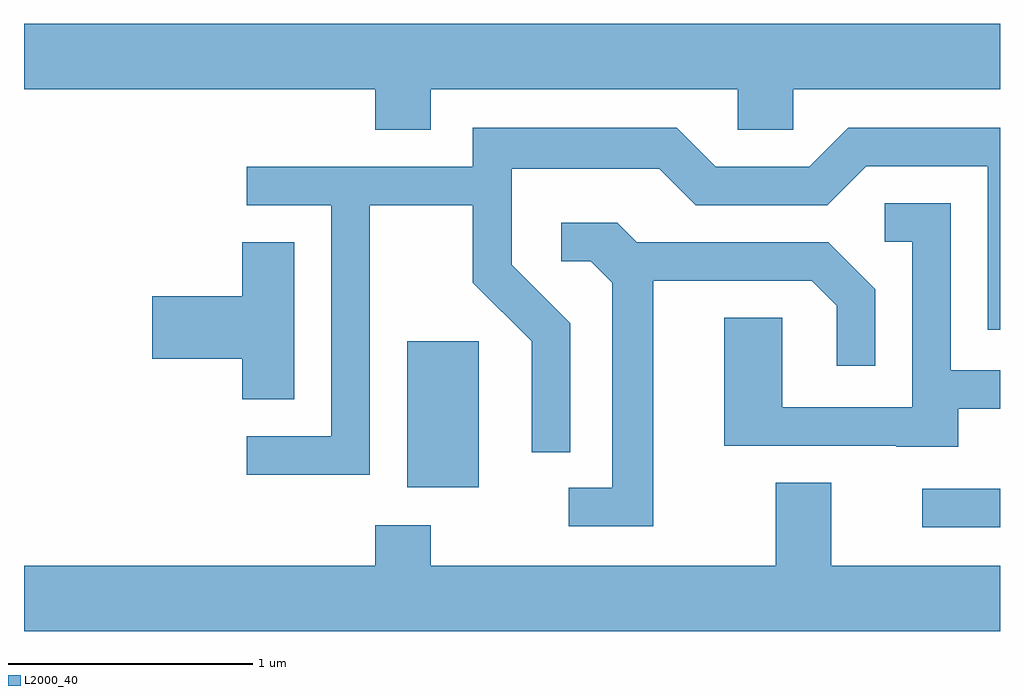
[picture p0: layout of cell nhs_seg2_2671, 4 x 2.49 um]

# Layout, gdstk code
import gdstk
lib = gdstk.Library(unit=1e-6, precision=1e-09)
def R(c, l, rs):  # rectangles x0, y0, x1, y1
    for r in rs: c.add(gdstk.rectangle(r[:2], r[2:], *l))
def P(c, l, *ps):  # polygons
    for p in ps: c.add(gdstk.Polygon(p, *l))
L2000_40 = (2000, 40)

nhs_seg2_2671 = lib.new_cell('nhs_seg2_2671')
R(nhs_seg2_2671, L2000_40, [(267.293,1028.761,267.611,1028.919), (265.181,1028.926,265.474,1029.524)])
P(nhs_seg2_2671, L2000_40, [(265.279,1030.556),(266.536,1030.556),(266.536,1030.391),(266.764,1030.391),(266.764,1030.556),(267.611,1030.556),(267.611,1030.824),(263.611,1030.824),(263.611,1030.556),(265.051,1030.556),(265.051,1030.391),(265.279,1030.391)],
  [(265.029,1030.081),(265.451,1030.081),(265.451,1029.764),(265.691,1029.524),(265.691,1029.068),(265.849,1029.068),(265.849,1029.597),(265.609,1029.837),(265.609,1030.231),(266.214,1030.231),(266.364,1030.081),(266.902,1030.081),(267.062,1030.241),(267.561,1030.241),(267.561,1029.571),(267.611,1029.571),(267.611,1030.399),(266.989,1030.399),(266.829,1030.239),(266.447,1030.239),(266.287,1030.399),(265.451,1030.399),(265.451,1030.239),(264.523,1030.239),(264.523,1030.081),(264.871,1030.081),(264.871,1029.134),(264.523,1029.134),(264.523,1028.976),(265.029,1028.976)],
  [(267.439,1029.246),(267.611,1029.246),(267.611,1029.404),(267.409,1029.404),(267.409,1030.089),(267.138,1030.089),(267.138,1029.931),(267.251,1029.931),(267.251,1029.254),(266.719,1029.254),(266.719,1029.619),(266.481,1029.619),(266.481,1029.096),(267.185,1029.096),(267.185,1029.091),(267.439,1029.091)],
  [(266.189,1029.771),(266.839,1029.771),(266.941,1029.669),(266.941,1029.423),(267.099,1029.423),(267.099,1029.737),(266.907,1029.929),(266.122,1029.929),(266.042,1030.009),(265.813,1030.009),(265.813,1029.851),(265.934,1029.851),(266.021,1029.764),(266.021,1028.924),(265.843,1028.924),(265.843,1028.766),(266.189,1028.766)],
  [(264.719,1029.929),(264.506,1029.929),(264.506,1029.709),(264.136,1029.709),(264.136,1029.451),(264.506,1029.451),(264.506,1029.286),(264.719,1029.286)],
  [(267.611,1028.604),(266.919,1028.604),(266.919,1028.944),(266.691,1028.944),(266.691,1028.604),(265.279,1028.604),(265.279,1028.769),(265.051,1028.769),(265.051,1028.604),(263.611,1028.604),(263.611,1028.336),(267.611,1028.336)])

lib.write_gds('nhs_seg2_2671.gds')
